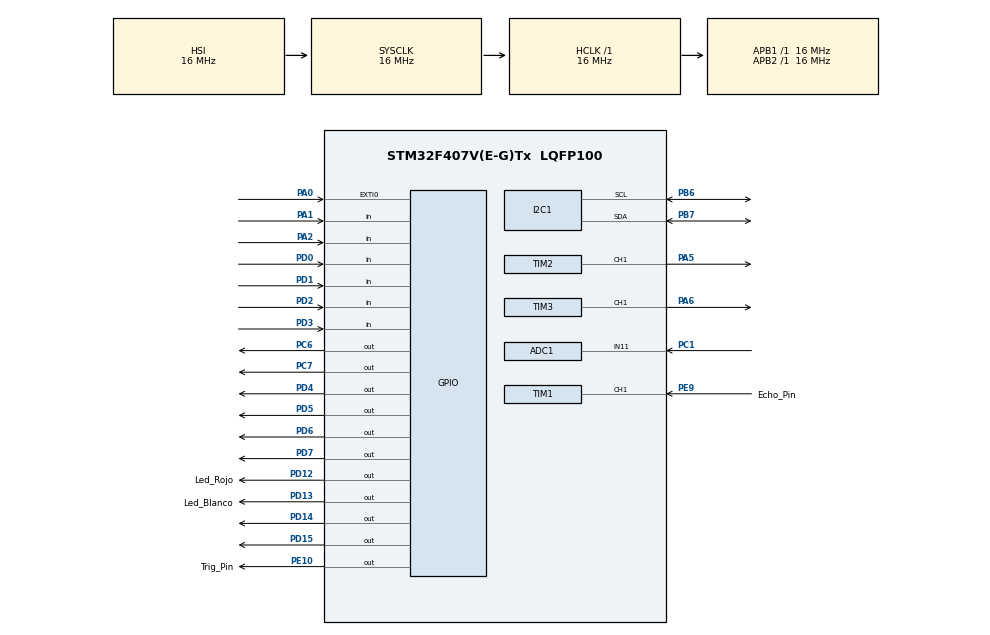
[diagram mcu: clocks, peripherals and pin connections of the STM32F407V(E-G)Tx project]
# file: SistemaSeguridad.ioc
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ADC1.Channel-2\#ChannelRegularConversion=ADC_CHANNEL_11
ADC1.NbrOfConversionFlag=1
ADC1.Rank-2\#ChannelRegularConversion=1
ADC1.Resolution=ADC_RESOLUTION_8B
ADC1.SamplingTime-2\#ChannelRegularConversion=ADC_SAMPLETIME_3CYCLES
ADC1.master=1
Mcu.Family=STM32F4
Mcu.Name=STM32F407V(E-G)Tx
Mcu.Package=LQFP100
NVIC.EXTI0_IRQn=true\:0\:0\:false\:false\:true\:true\:true
NVIC.PriorityGroup=NVIC_PRIORITYGROUP_4
NVIC.TIM1_CC_IRQn=true\:0\:0\:false\:false\:true\:true\:true
PA0-WKUP.Signal=GPXTI0
PA1.Signal=GPIO_Input
PA13.Mode=Serial_Wire
PA13.Signal=SYS_JTMS-SWDIO
PA14.Mode=Serial_Wire
PA14.Signal=SYS_JTCK-SWCLK
PA2.Signal=GPIO_Input
PA5.Signal=S_TIM2_CH1_ETR
PA6.Signal=S_TIM3_CH1
PB6.Mode=I2C
PB6.Signal=I2C1_SCL
PB7.Mode=I2C
PB7.Signal=I2C1_SDA
PC1.Signal=ADCx_IN11
PC6.Signal=GPIO_Output
PC7.Signal=GPIO_Output
PD0.Signal=GPIO_Input
PD1.Signal=GPIO_Input
PD12.GPIO_Label=Led_Rojo
PD12.Signal=GPIO_Output
PD13.GPIO_Label=Led_Blanco
PD13.Signal=GPIO_Output
PD14.Signal=GPIO_Output
PD15.Signal=GPIO_Output
PD2.Signal=GPIO_Input
PD3.Signal=GPIO_Input
PD4.Signal=GPIO_Output
PD5.Signal=GPIO_Output
PD6.Signal=GPIO_Output
PD7.Signal=GPIO_Output
PE10.GPIO_Label=Trig_Pin
PE10.Signal=GPIO_Output
PE9.GPIO_Label=Echo_Pin
PE9.Signal=S_TIM1_CH1
PH0-OSC_IN.Mode=HSE-External-Oscillator
PH0-OSC_IN.Signal=RCC_OSC_IN
PH1-OSC_OUT.Mode=HSE-External-Oscillator
PH1-OSC_OUT.Signal=RCC_OSC_OUT
ProjectManager.HeapSize=0x200
ProjectManager.StackSize=0x400
ProjectManager.TargetToolchain=STM32CubeIDE
RCC.48MHZClocksFreq_Value=48000000
RCC.AHBFreq_Value=16000000
RCC.APB1Freq_Value=16000000
RCC.APB1TimFreq_Value=16000000
RCC.APB2Freq_Value=16000000
RCC.APB2TimFreq_Value=16000000
RCC.CortexFreq_Value=16000000
RCC.HCLKFreq_Value=16000000
RCC.HSE_VALUE=25000000
RCC.HSI_VALUE=16000000
RCC.LSE_VALUE=32768
RCC.SYSCLKFreq_VALUE=16000000
RCC.VCOOutputFreq_Value=192000000
SH.ADCx_IN11.0=ADC1_IN11,IN11
SH.S_TIM1_CH1.0=TIM1_CH1,Input_Capture1_from_TI1
SH.S_TIM2_CH1_ETR.0=TIM2_CH1,PWM Generation1 CH1
SH.S_TIM3_CH1.0=TIM3_CH1,PWM Generation1 CH1
TIM1.Channel-Input_Capture1_from_TI1=TIM_CHANNEL_1
TIM1.Prescaler=72-1
TIM2.Channel-PWM\ Generation1\ CH1=TIM_CHANNEL_1
TIM2.Prescaler=900-1
TIM3.Channel-PWM\ Generation1\ CH1=TIM_CHANNEL_1
board=custom

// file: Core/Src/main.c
/* USER CODE BEGIN Header */
/**
  ******************************************************************************
  * @file           : main.c
  * @brief          : Main program body
  ******************************************************************************
  * @attention
  *
  * <h2><center>&copy; Copyright (c) 2022 STMicroelectronics.
  * All rights reserved.</center></h2>
  *
  * This software component is licensed by ST under BSD 3-Clause license,
  * the "License"; You may not use this file except in compliance with the
  * License. You may obtain a copy of the License at:
  *                        opensource.org/licenses/BSD-3-Clause
  *
  ******************************************************************************
  */
/* USER CODE END Header */
#include "main.h"

ADC_HandleTypeDef hadc1;

I2C_HandleTypeDef hi2c1;

TIM_HandleTypeDef htim1;
TIM_HandleTypeDef htim2;
TIM_HandleTypeDef htim3;

void SystemClock_Config(void);
static void MX_GPIO_Init(void);
static void MX_TIM1_Init(void);
static void MX_I2C1_Init(void);
static void MX_ADC1_Init(void);
static void MX_TIM2_Init(void);
static void MX_TIM3_Init(void);
/* USER CODE BEGIN PFP */
//void BuzAlarm ();
/* USER CODE END PFP */

/* USER CODE BEGIN 0 */

volatile int acceso=-1;
volatile int ALARMA=0;
volatile int aux=0;
volatile int EscribirPass = 0;
volatile  uint8_t value = 0;
char password[4];

uint32_t adcValue;

void EscribePass(){
	//HAL_GPIO_TogglePin(GPIOD, GPIO_PIN_15);
	HAL_GPIO_WritePin(GPIOD, GPIO_PIN_15,1);
	//EscribirPass = 0;
	if (HAL_GPIO_ReadPin (GPIOA, GPIO_PIN_1) == 1 ){

		password[aux]='1';
		aux++;

	}
	if (HAL_GPIO_ReadPin (GPIOA, GPIO_PIN_2)==1){

		password[aux]='2';
		aux++;

	}

	if (aux == 4){
		aux = 0;
		if(password[0]=='1' && password[1]=='2' && password[2]=='2' && password[3]=='1'){
			if (acceso == 1)
				acceso = 0;
			else
				acceso = 1;
			ALARMA = 0;
			EscribirPass = 0;
			HAL_GPIO_WritePin(GPIOD, GPIO_PIN_15,0);
			return;
		}
		else{
			acceso = 0;
			ALARMA = 1;
			EscribirPass = 0;
			HAL_GPIO_WritePin(GPIOD, GPIO_PIN_15,0);
		    return;
		}
	}
}

void HAL_GPIO_EXTI_Callback(uint16_t GPIO_Pin){

	if (GPIO_Pin==GPIO_PIN_0 ){
		//HAL_GPIO_TogglePin(GPIOD, GPIO_PIN_15);
		//EscribePass();
		EscribirPass = 1;
	}

}

///////////////////////////////   ULTRASONIDOS  ///////////////////////////////////
void delay (uint16_t time)
{
	__HAL_TIM_SET_COUNTER(&htim1, 0);
	while (__HAL_TIM_GET_COUNTER (&htim1) < time);
}
uint32_t IC_Val1 = 0;
uint32_t IC_Val2 = 0;
uint32_t Difference = 0;
uint8_t Is_First_Captured = 0;  // is the first value captured ?
uint8_t Distance  = 0;
uint8_t ValorDistancia=0;
#define TRIG_PIN GPIO_PIN_10
#define TRIG_PORT GPIOE

void HAL_TIM_IC_CaptureCallback(TIM_HandleTypeDef *htim)
{
	if (htim->Channel == HAL_TIM_ACTIVE_CHANNEL_1)  // if the interrupt source is channel1
	{
		if (Is_First_Captured==0) // if the first value is not captured
		{
			IC_Val1 = HAL_TIM_ReadCapturedValue(htim, TIM_CHANNEL_1); // read the first value
			Is_First_Captured = 1;  // set the first captured as true
			// Now change the polarity to falling edge
			__HAL_TIM_SET_CAPTUREPOLARITY(htim, TIM_CHANNEL_1, TIM_INPUTCHANNELPOLARITY_FALLING);
		}

		else if (Is_First_Captured==1)   // if the first is already captured
		{
			IC_Val2 = HAL_TIM_ReadCapturedValue(htim, TIM_CHANNEL_1);  // read second value
			__HAL_TIM_SET_COUNTER(htim, 0);  // reset the counter

			if (IC_Val2 > IC_Val1)
			{
				Difference = IC_Val2-IC_Val1;
			}

			else if (IC_Val1 > IC_Val2)
			{
				Difference = (0xffff - IC_Val1) + IC_Val2;
			}

			Distance = Difference * .034/2;
			Is_First_Captured = 0; // set it back to false

			// set polarity to rising edge
			__HAL_TIM_SET_CAPTUREPOLARITY(htim, TIM_CHANNEL_1, TIM_INPUTCHANNELPOLARITY_RISING);
			__HAL_TIM_DISABLE_IT(&htim1, TIM_IT_CC1);

		}

	}
	if (acceso != 1){
		if (Distance>5){ //señal de alarma
			HAL_GPIO_WritePin(GPIOD, GPIO_PIN_13,1);
			ALARMA = 1;
			}
		else {
			HAL_GPIO_WritePin(GPIOD, GPIO_PIN_13,0);

	}
}
}

void HCSR04_Read (void)
{
	HAL_GPIO_WritePin(TRIG_PORT, TRIG_PIN, GPIO_PIN_SET);  // pull the TRIG pin HIGH
	delay(10);  // wait for 10 us
	HAL_GPIO_WritePin(TRIG_PORT, TRIG_PIN, GPIO_PIN_RESET);  // pull the TRIG pin low

	__HAL_TIM_ENABLE_IT(&htim1, TIM_IT_CC1);
}

/* USER CODE END 0 */

int main(void)
{

  /* MCU Configuration--------------------------------------------------------*/

  /* Reset of all peripherals, Initializes the Flash interface and the Systick. */
  HAL_Init();

  /* Configure the system clock */
  SystemClock_Config();

  /* Initialize all configured peripherals */
  MX_GPIO_Init();
  MX_TIM1_Init();
  MX_I2C1_Init();
  MX_ADC1_Init();
  MX_TIM2_Init();
  MX_TIM3_Init();
  /* USER CODE BEGIN 2 */

  HAL_TIM_IC_Start_IT(&htim1,TIM_CHANNEL_1);//empezamos en el modo de interrupcion
  HAL_TIM_PWM_Start(&htim3, TIM_CHANNEL_1);
  /* USER CODE END 2 */

  /* Infinite loop */
  while (1)
  {

    /* USER CODE BEGIN 3 */
	  HAL_ADC_Start(&hadc1);

	       if (HAL_ADC_PollForConversion(&hadc1, 100) == HAL_OK){
	  			  adcValue = HAL_ADC_GetValue(&hadc1); //valor leído
	  			  if (adcValue < 25)
	  				  ALARMA = 1;
	       }
	  		  HAL_ADC_Stop(&hadc1);

  	  HCSR04_Read();//LECTURA DEL ULTRASONIDOS

 	  HAL_Delay(200);
 	 if (EscribirPass == 1){
 		 HAL_NVIC_DisableIRQ(EXTI0_IRQn);
 		 EscribePass();
 		 HAL_NVIC_EnableIRQ(EXTI0_IRQn);

 	 }
 	 if (ALARMA == 1){
 		 HAL_GPIO_WritePin(GPIOC, GPIO_PIN_6,1);
 		 HAL_GPIO_WritePin(GPIOC, GPIO_PIN_7,0);
 		 htim3.Instance->CCR1 = 255;
 		 //BuzAlarm();
 	  }
 	 if (acceso == 1) {
 		 htim3.Instance->CCR1 = 0;
 		 HAL_GPIO_WritePin(GPIOC, GPIO_PIN_6,0);
 		HAL_GPIO_WritePin(GPIOC, GPIO_PIN_7,1);

 		 ALARMA = 0;
 	  }
 	 else HAL_GPIO_WritePin(GPIOC, GPIO_PIN_7,0);

  }
  /* USER CODE END 3 */
}

void SystemClock_Config(void)
{
  RCC_OscInitTypeDef RCC_OscInitStruct = {0};
  RCC_ClkInitTypeDef RCC_ClkInitStruct = {0};

  /** Configure the main internal regulator output voltage
  */
  __HAL_RCC_PWR_CLK_ENABLE();
  __HAL_PWR_VOLTAGESCALING_CONFIG(PWR_REGULATOR_VOLTAGE_SCALE1);
  /** Initializes the RCC Oscillators according to the specified parameters
  * in the RCC_OscInitTypeDef structure.
  */
  RCC_OscInitStruct.OscillatorType = RCC_OSCILLATORTYPE_HSI;
  RCC_OscInitStruct.HSIState = RCC_HSI_ON;
  RCC_OscInitStruct.HSICalibrationValue = RCC_HSICALIBRATION_DEFAULT;
  RCC_OscInitStruct.PLL.PLLState = RCC_PLL_NONE;
  if (HAL_RCC_OscConfig(&RCC_OscInitStruct) != HAL_OK)
  {
    Error_Handler();
  }
  /** Initializes the CPU, AHB and APB buses clocks
  */
  RCC_ClkInitStruct.ClockType = RCC_CLOCKTYPE_HCLK|RCC_CLOCKTYPE_SYSCLK
                              |RCC_CLOCKTYPE_PCLK1|RCC_CLOCKTYPE_PCLK2;
  RCC_ClkInitStruct.SYSCLKSource = RCC_SYSCLKSOURCE_HSI;
  RCC_ClkInitStruct.AHBCLKDivider = RCC_SYSCLK_DIV1;
  RCC_ClkInitStruct.APB1CLKDivider = RCC_HCLK_DIV1;
  RCC_ClkInitStruct.APB2CLKDivider = RCC_HCLK_DIV1;

  if (HAL_RCC_ClockConfig(&RCC_ClkInitStruct, FLASH_LATENCY_0) != HAL_OK)
  {
    Error_Handler();
  }
}

static void MX_ADC1_Init(void)
{

  ADC_ChannelConfTypeDef sConfig = {0};

  /** Configure the global features of the ADC (Clock, Resolution, Data Alignment and number of conversion)
  */
  hadc1.Instance = ADC1;
  hadc1.Init.ClockPrescaler = ADC_CLOCK_SYNC_PCLK_DIV2;
  hadc1.Init.Resolution = ADC_RESOLUTION_8B;
  hadc1.Init.ScanConvMode = DISABLE;
  hadc1.Init.ContinuousConvMode = DISABLE;
  hadc1.Init.DiscontinuousConvMode = DISABLE;
  hadc1.Init.ExternalTrigConvEdge = ADC_EXTERNALTRIGCONVEDGE_NONE;
  hadc1.Init.ExternalTrigConv = ADC_SOFTWARE_START;
  hadc1.Init.DataAlign = ADC_DATAALIGN_RIGHT;
  hadc1.Init.NbrOfConversion = 1;
  hadc1.Init.DMAContinuousRequests = DISABLE;
  hadc1.Init.EOCSelection = ADC_EOC_SINGLE_CONV;
  if (HAL_ADC_Init(&hadc1) != HAL_OK)
  {
    Error_Handler();
  }
  /** Configure for the selected ADC regular channel its corresponding rank in the sequencer and its sample time.
  */
  sConfig.Channel = ADC_CHANNEL_11;
  sConfig.Rank = 1;
  sConfig.SamplingTime = ADC_SAMPLETIME_3CYCLES;
  if (HAL_ADC_ConfigChannel(&hadc1, &sConfig) != HAL_OK)
  {
    Error_Handler();
  }

}

static void MX_I2C1_Init(void)
{

  hi2c1.Instance = I2C1;
  hi2c1.Init.ClockSpeed = 100000;
  hi2c1.Init.DutyCycle = I2C_DUTYCYCLE_2;
  hi2c1.Init.OwnAddress1 = 0;
  hi2c1.Init.AddressingMode = I2C_ADDRESSINGMODE_7BIT;
  hi2c1.Init.DualAddressMode = I2C_DUALADDRESS_DISABLE;
  hi2c1.Init.OwnAddress2 = 0;
  hi2c1.Init.GeneralCallMode = I2C_GENERALCALL_DISABLE;
  hi2c1.Init.NoStretchMode = I2C_NOSTRETCH_DISABLE;
  if (HAL_I2C_Init(&hi2c1) != HAL_OK)
  {
    Error_Handler();
  }

}

static void MX_TIM1_Init(void)
{

  TIM_MasterConfigTypeDef sMasterConfig = {0};
  TIM_IC_InitTypeDef sConfigIC = {0};

  htim1.Instance = TIM1;
  htim1.Init.Prescaler = 72-1;
  htim1.Init.CounterMode = TIM_COUNTERMODE_UP;
  htim1.Init.Period = 65535;
  htim1.Init.ClockDivision = TIM_CLOCKDIVISION_DIV1;
  htim1.Init.RepetitionCounter = 0;
  htim1.Init.AutoReloadPreload = TIM_AUTORELOAD_PRELOAD_DISABLE;
  if (HAL_TIM_IC_Init(&htim1) != HAL_OK)
  {
    Error_Handler();
  }
  sMasterConfig.MasterOutputTrigger = TIM_TRGO_RESET;
  sMasterConfig.MasterSlaveMode = TIM_MASTERSLAVEMODE_DISABLE;
  if (HAL_TIMEx_MasterConfigSynchronization(&htim1, &sMasterConfig) != HAL_OK)
  {
    Error_Handler();
  }
  sConfigIC.ICPolarity = TIM_INPUTCHANNELPOLARITY_RISING;
  sConfigIC.ICSelection = TIM_ICSELECTION_DIRECTTI;
  sConfigIC.ICPrescaler = TIM_ICPSC_DIV1;
  sConfigIC.ICFilter = 0;
  if (HAL_TIM_IC_ConfigChannel(&htim1, &sConfigIC, TIM_CHANNEL_1) != HAL_OK)
  {
    Error_Handler();
  }

}

static void MX_TIM2_Init(void)
{

  TIM_MasterConfigTypeDef sMasterConfig = {0};
  TIM_OC_InitTypeDef sConfigOC = {0};

  htim2.Instance = TIM2;
  htim2.Init.Prescaler = 900-1;
  htim2.Init.CounterMode = TIM_COUNTERMODE_UP;
  htim2.Init.Period = 4294967295;
  htim2.Init.ClockDivision = TIM_CLOCKDIVISION_DIV1;
  htim2.Init.AutoReloadPreload = TIM_AUTORELOAD_PRELOAD_DISABLE;
  if (HAL_TIM_PWM_Init(&htim2) != HAL_OK)
  {
    Error_Handler();
  }
  sMasterConfig.MasterOutputTrigger = TIM_TRGO_RESET;
  sMasterConfig.MasterSlaveMode = TIM_MASTERSLAVEMODE_DISABLE;
  if (HAL_TIMEx_MasterConfigSynchronization(&htim2, &sMasterConfig) != HAL_OK)
  {
    Error_Handler();
  }
  sConfigOC.OCMode = TIM_OCMODE_PWM1;
  sConfigOC.Pulse = 0;
  sConfigOC.OCPolarity = TIM_OCPOLARITY_HIGH;
  sConfigOC.OCFastMode = TIM_OCFAST_DISABLE;
  if (HAL_TIM_PWM_ConfigChannel(&htim2, &sConfigOC, TIM_CHANNEL_1) != HAL_OK)
  {
    Error_Handler();
  }
  HAL_TIM_MspPostInit(&htim2);

}

static void MX_TIM3_Init(void)
{

  TIM_MasterConfigTypeDef sMasterConfig = {0};
  TIM_OC_InitTypeDef sConfigOC = {0};

  htim3.Instance = TIM3;
  htim3.Init.Prescaler = 0;
  htim3.Init.CounterMode = TIM_COUNTERMODE_UP;
  htim3.Init.Period = 65535;
  htim3.Init.ClockDivision = TIM_CLOCKDIVISION_DIV1;
  htim3.Init.AutoReloadPreload = TIM_AUTORELOAD_PRELOAD_DISABLE;
  if (HAL_TIM_PWM_Init(&htim3) != HAL_OK)
  {
    Error_Handler();
  }
  sMasterConfig.MasterOutputTrigger = TIM_TRGO_RESET;
  sMasterConfig.MasterSlaveMode = TIM_MASTERSLAVEMODE_DISABLE;
  if (HAL_TIMEx_MasterConfigSynchronization(&htim3, &sMasterConfig) != HAL_OK)
  {
    Error_Handler();
  }
  sConfigOC.OCMode = TIM_OCMODE_PWM1;
  sConfigOC.Pulse = 0;
  sConfigOC.OCPolarity = TIM_OCPOLARITY_HIGH;
  sConfigOC.OCFastMode = TIM_OCFAST_DISABLE;
  if (HAL_TIM_PWM_ConfigChannel(&htim3, &sConfigOC, TIM_CHANNEL_1) != HAL_OK)
  {
    Error_Handler();
  }
  HAL_TIM_MspPostInit(&htim3);

}

static void MX_GPIO_Init(void)
{
  GPIO_InitTypeDef GPIO_InitStruct = {0};

  /* GPIO Ports Clock Enable */
  __HAL_RCC_GPIOH_CLK_ENABLE();
  __HAL_RCC_GPIOC_CLK_ENABLE();
  __HAL_RCC_GPIOA_CLK_ENABLE();
  __HAL_RCC_GPIOE_CLK_ENABLE();
  __HAL_RCC_GPIOD_CLK_ENABLE();
  __HAL_RCC_GPIOB_CLK_ENABLE();

  /*Configure GPIO pin Output Level */
  HAL_GPIO_WritePin(Trig_Pin_GPIO_Port, Trig_Pin_Pin, GPIO_PIN_RESET);

  /*Configure GPIO pin Output Level */
  HAL_GPIO_WritePin(GPIOD, Led_Rojo_Pin|Led_Blanco_Pin|GPIO_PIN_14|GPIO_PIN_15
                          |GPIO_PIN_4|GPIO_PIN_5|GPIO_PIN_6|GPIO_PIN_7, GPIO_PIN_RESET);

  /*Configure GPIO pin Output Level */
  HAL_GPIO_WritePin(GPIOC, GPIO_PIN_6|GPIO_PIN_7, GPIO_PIN_RESET);

  /*Configure GPIO pin : PA0 */
  GPIO_InitStruct.Pin = GPIO_PIN_0;
  GPIO_InitStruct.Mode = GPIO_MODE_IT_RISING;
  GPIO_InitStruct.Pull = GPIO_NOPULL;
  HAL_GPIO_Init(GPIOA, &GPIO_InitStruct);

  /*Configure GPIO pins : PA1 PA2 */
  GPIO_InitStruct.Pin = GPIO_PIN_1|GPIO_PIN_2;
  GPIO_InitStruct.Mode = GPIO_MODE_INPUT;
  GPIO_InitStruct.Pull = GPIO_NOPULL;
  HAL_GPIO_Init(GPIOA, &GPIO_InitStruct);

  /*Configure GPIO pin : Trig_Pin_Pin */
  GPIO_InitStruct.Pin = Trig_Pin_Pin;
  GPIO_InitStruct.Mode = GPIO_MODE_OUTPUT_PP;
  GPIO_InitStruct.Pull = GPIO_NOPULL;
  GPIO_InitStruct.Speed = GPIO_SPEED_FREQ_LOW;
  HAL_GPIO_Init(Trig_Pin_GPIO_Port, &GPIO_InitStruct);

  /*Configure GPIO pins : Led_Rojo_Pin Led_Blanco_Pin PD14 PD15
                           PD4 PD5 PD6 PD7 */
  GPIO_InitStruct.Pin = Led_Rojo_Pin|Led_Blanco_Pin|GPIO_PIN_14|GPIO_PIN_15
                          |GPIO_PIN_4|GPIO_PIN_5|GPIO_PIN_6|GPIO_PIN_7;
  GPIO_InitStruct.Mode = GPIO_MODE_OUTPUT_PP;
  GPIO_InitStruct.Pull = GPIO_NOPULL;
  GPIO_InitStruct.Speed = GPIO_SPEED_FREQ_LOW;
  HAL_GPIO_Init(GPIOD, &GPIO_InitStruct);

  /*Configure GPIO pins : PC6 PC7 */
  GPIO_InitStruct.Pin = GPIO_PIN_6|GPIO_PIN_7;
  GPIO_InitStruct.Mode = GPIO_MODE_OUTPUT_PP;
  GPIO_InitStruct.Pull = GPIO_NOPULL;
  GPIO_InitStruct.Speed = GPIO_SPEED_FREQ_LOW;
  HAL_GPIO_Init(GPIOC, &GPIO_InitStruct);

  /*Configure GPIO pins : PD0 PD1 PD2 PD3 */
  GPIO_InitStruct.Pin = GPIO_PIN_0|GPIO_PIN_1|GPIO_PIN_2|GPIO_PIN_3;
  GPIO_InitStruct.Mode = GPIO_MODE_INPUT;
  GPIO_InitStruct.Pull = GPIO_NOPULL;
  HAL_GPIO_Init(GPIOD, &GPIO_InitStruct);

  /* EXTI interrupt init*/
  HAL_NVIC_SetPriority(EXTI0_IRQn, 0, 0);
  HAL_NVIC_EnableIRQ(EXTI0_IRQn);

}

void Error_Handler(void)
{
}

/************************ (C) COPYRIGHT STMicroelectronics *****END OF FILE****/
